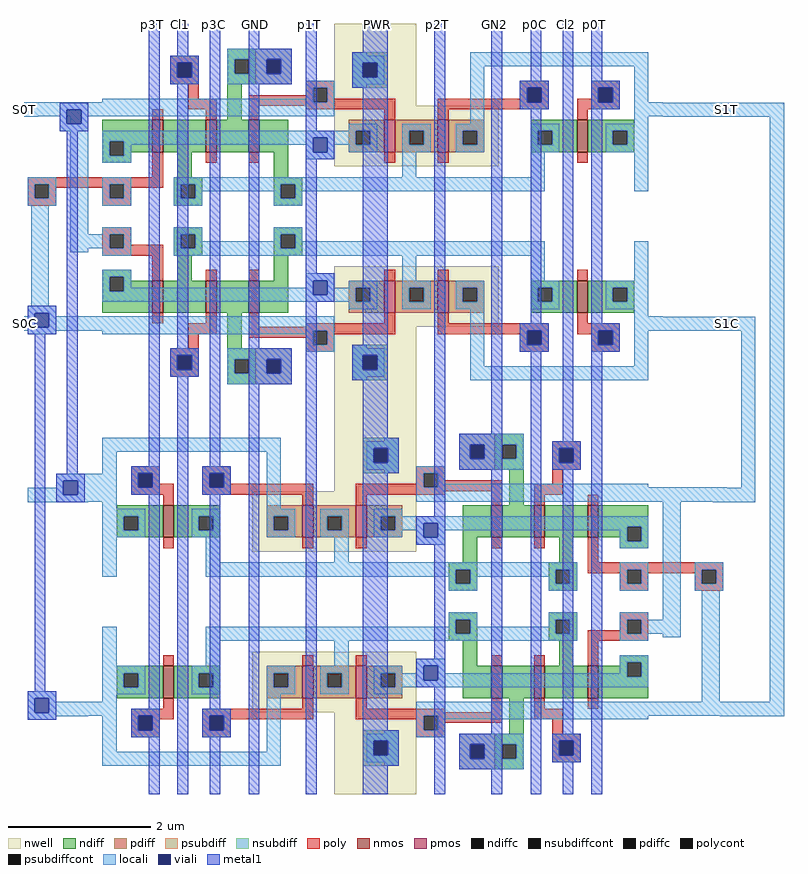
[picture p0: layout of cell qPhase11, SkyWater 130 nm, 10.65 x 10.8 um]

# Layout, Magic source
magic
tech sky130A
magscale 1 2
<< locali >>
rect -360 1730 -320 1770
rect -260 1750 -180 1770
rect -260 1710 -240 1750
rect -200 1710 -180 1750
rect 1430 1730 1770 1770
rect -260 1690 -180 1710
rect -350 1180 -270 1200
rect -350 1170 -330 1180
rect -360 1140 -330 1170
rect -290 1140 -270 1180
rect -360 1130 -270 1140
rect 1430 1130 1690 1170
rect -350 1120 -270 1130
rect -270 710 -120 730
rect -270 690 -250 710
rect -350 670 -250 690
rect -210 690 -120 710
rect 1650 690 1690 1130
rect -210 670 -180 690
rect -350 650 -180 670
rect 1570 650 1690 690
rect -350 100 -270 120
rect -350 60 -330 100
rect -290 90 -270 100
rect 1730 90 1770 1730
rect -290 60 -180 90
rect -350 50 -180 60
rect 1590 50 1770 90
rect -350 40 -270 50
<< viali >>
rect -240 1710 -200 1750
rect -330 1140 -290 1180
rect -250 670 -210 710
rect -330 60 -290 100
<< metal1 >>
rect -10 1960 20 1990
rect 70 1960 100 1990
rect 160 1960 190 1990
rect 270 1960 300 1990
rect 430 1960 460 1990
rect 590 1960 660 1990
rect 790 1960 820 1990
rect 950 1960 980 1990
rect 1060 1960 1090 1990
rect 1150 1960 1180 1990
rect 1230 1960 1260 1990
rect -260 1750 -180 1770
rect -260 1710 -240 1750
rect -200 1710 -180 1750
rect -260 1690 -180 1710
rect -350 1180 -270 1200
rect -350 1140 -330 1180
rect -290 1140 -270 1180
rect -350 1120 -270 1140
rect -330 120 -300 1120
rect -240 730 -210 1690
rect -270 710 -190 730
rect -270 670 -250 710
rect -210 670 -190 710
rect -270 650 -190 670
rect -350 100 -270 120
rect -350 60 -330 100
rect -290 60 -270 100
rect -350 40 -270 60
use qLatch11  qLatch11_0
transform 1 0 160 0 1 1271
box -520 -391 1270 751
use qLatch11  qLatch11_1
transform -1 0 1090 0 1 191
box -520 -391 1270 751
<< labels >>
flabel locali 1610 1750 1610 1750 7 FreeSans 160 0 240 0 S1T
port 3 w
flabel locali 1610 1150 1610 1150 7 FreeSans 160 0 240 0 S1C
port 4 w
flabel metal1 80 1990 80 1990 1 FreeSans 160 0 0 240 Cl1
port 8 n
flabel metal1 1160 1990 1160 1990 1 FreeSans 160 0 0 240 Cl2
port 10 n
flabel metal1 630 1990 630 1990 1 FreeSans 160 0 0 240 PWR
port 14 n
flabel metal1 290 1990 290 1990 1 FreeSans 160 0 0 240 GND
port 13 n
flabel metal1 440 1990 440 1990 1 FreeSans 160 0 0 240 p1T
port 7 n
flabel metal1 800 1990 800 1990 1 FreeSans 160 0 0 240 p2T
port 9 n
flabel metal1 1240 1990 1240 1990 1 FreeSans 160 0 0 240 p0T
port 5 n
flabel metal1 1070 1990 1070 1990 1 FreeSans 160 0 0 240 p0C
port 6 n
flabel metal1 0 1990 0 1990 1 FreeSans 160 0 0 240 p3T
port 11 n
flabel metal1 170 1990 170 1990 1 FreeSans 160 0 0 240 p3C
port 12 n
flabel locali -360 1750 -360 1750 1 FreeSans 160 0 -240 0 S0T
port 1 n
flabel locali -360 1150 -360 1150 1 FreeSans 160 0 -240 0 S0C
port 2 n
flabel metal1 960 1990 960 1990 1 FreeSans 160 0 0 240 GN2
port 15 n
<< end >>

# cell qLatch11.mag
magic
tech sky130A
<< poly >>
rect -255 135 -150 145
rect -255 115 -245 135
rect -225 130 -150 135
rect -225 115 -215 130
rect -255 105 -215 115
<< polycont >>
rect -245 115 -225 135
<< locali >>
rect -260 230 -150 250
rect 615 230 635 250
rect -255 135 -215 145
rect -255 115 -245 135
rect -225 115 -215 135
rect -255 105 -215 115
rect -250 -50 -225 105
rect -195 65 -170 230
rect -195 45 -150 65
rect -195 40 -170 45
rect -260 -70 -150 -50
rect 615 -70 635 -50
<< metal1 >>
rect -85 345 -70 360
rect -45 345 -30 360
rect 0 345 15 360
rect 55 345 70 360
rect 135 345 150 360
rect 215 340 250 360
rect 315 345 330 360
rect 395 345 410 360
rect 450 345 465 360
rect 495 345 510 360
rect 535 345 550 360
use QAAmp11  QAAmp11_0
transform 1 0 -5 0 -1 20
box -145 -70 620 200
use QAAmp11  QAAmp11_1
transform 1 0 -5 0 1 160
box -145 -70 620 200
<< labels >>
flabel metal1 -80 360 -80 360 1 FreeSans 80 0 0 120 p3T
port 11 n
flabel metal1 -40 360 -40 360 1 FreeSans 80 0 0 120 Cl0
port 8 n
flabel metal1 5 360 5 360 1 FreeSans 80 0 0 120 p7T
port 12 n
flabel metal1 65 360 65 360 1 FreeSans 80 0 0 120 GND
port 13 n
flabel metal1 235 360 235 360 1 FreeSans 80 0 0 120 PWR
port 14 n
flabel metal1 325 360 325 360 1 FreeSans 80 0 0 120 p2T
port 9 n
flabel metal1 400 360 400 360 1 FreeSans 80 0 0 120 GN2
port 15 n
flabel metal1 460 360 460 360 1 FreeSans 80 0 0 120 p4T
port 6 n
flabel metal1 500 360 500 360 1 FreeSans 80 0 0 120 Cl1
port 10 n
flabel metal1 540 360 540 360 1 FreeSans 80 0 0 120 p0T
port 5 n
flabel locali -260 240 -260 240 3 FreeSans 80 0 -120 0 AT
port 1 e
flabel locali -260 -60 -260 -60 3 FreeSans 80 0 -120 0 AC
port 2 e
flabel locali 635 240 635 240 7 FreeSans 80 0 120 0 QT
port 3 w
flabel locali 635 -60 635 -60 7 FreeSans 80 0 120 0 QC
port 4 w
flabel metal1 140 360 140 360 1 FreeSans 80 0 0 120 p1T
port 7 n
<< end >>

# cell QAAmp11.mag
magic
tech sky130A
<< nwell >>
rect 180 85 295 200
rect 180 0 410 85
<< nmos >>
rect -75 20 -60 65
rect 0 20 15 65
rect 60 20 75 65
rect 520 20 535 65
<< pmos >>
rect 250 20 265 65
rect 325 20 340 65
<< ndiff >>
rect 30 150 70 165
rect 30 130 40 150
rect 60 130 70 150
rect 30 115 70 130
rect 30 65 50 115
rect -145 35 -75 65
rect -145 15 -135 35
rect -115 20 -75 35
rect -60 20 0 65
rect 15 20 60 65
rect 75 20 115 65
rect 455 50 520 65
rect 455 30 465 50
rect 485 30 520 50
rect 455 20 520 30
rect 535 50 600 65
rect 535 30 570 50
rect 590 30 600 50
rect 535 20 600 30
rect -115 15 -105 20
rect -145 5 -105 15
rect -40 -15 -20 20
rect 95 -15 115 20
rect -45 -25 -5 -15
rect -45 -45 -35 -25
rect -15 -45 -5 -25
rect -45 -55 -5 -45
rect 95 -25 135 -15
rect 95 -45 105 -25
rect 125 -45 135 -25
rect 95 -55 135 -45
<< pdiff >>
rect 200 50 250 65
rect 200 30 210 50
rect 230 30 250 50
rect 200 20 250 30
rect 265 50 325 65
rect 265 30 285 50
rect 305 30 325 50
rect 265 20 325 30
rect 340 50 390 65
rect 340 30 360 50
rect 380 30 390 50
rect 340 20 390 30
<< ndiffc >>
rect 40 130 60 150
rect -135 15 -115 35
rect 465 30 485 50
rect 570 30 590 50
rect -35 -45 -15 -25
rect 105 -45 125 -25
<< pdiffc >>
rect 210 30 230 50
rect 285 30 305 50
rect 360 30 380 50
<< psubdiff >>
rect 70 150 120 165
rect 70 130 85 150
rect 105 130 120 150
rect 70 115 120 130
<< nsubdiff >>
rect 205 145 255 160
rect 205 125 220 145
rect 240 125 255 145
rect 205 110 255 125
<< psubdiffcont >>
rect 85 130 105 150
<< nsubdiffcont >>
rect 220 125 240 145
<< poly >>
rect -50 145 -10 155
rect -50 125 -40 145
rect -20 125 -10 145
rect -50 115 -10 125
rect -25 95 -10 115
rect -25 80 15 95
rect -75 65 -60 80
rect 0 65 15 80
rect 140 110 180 120
rect 440 110 480 120
rect 140 100 150 110
rect 60 90 150 100
rect 170 95 180 110
rect 440 95 450 110
rect 170 90 265 95
rect 60 85 265 90
rect 60 65 75 85
rect 140 80 265 85
rect 250 65 265 80
rect 325 90 450 95
rect 470 90 480 110
rect 540 110 580 120
rect 540 95 550 110
rect 325 80 480 90
rect 520 90 550 95
rect 570 90 580 110
rect 520 80 580 90
rect 325 65 340 80
rect 520 65 535 80
rect -75 -15 -60 20
rect 0 5 15 20
rect 60 5 75 20
rect 250 5 265 20
rect 325 5 340 20
rect 520 5 535 20
rect -145 -25 -60 -15
rect -145 -45 -135 -25
rect -115 -30 -60 -25
rect -115 -45 -105 -30
rect -145 -55 -105 -45
<< polycont >>
rect -40 125 -20 145
rect 150 90 170 110
rect 450 90 470 110
rect 550 90 570 110
rect -135 -45 -115 -25
<< locali >>
rect -50 145 -10 155
rect -50 125 -40 145
rect -20 125 -10 145
rect -50 115 -10 125
rect 30 150 120 165
rect 30 130 40 150
rect 60 130 85 150
rect 105 130 120 150
rect 30 115 120 130
rect 205 155 225 160
rect 205 145 250 155
rect 205 125 220 145
rect 240 125 250 145
rect 140 110 180 120
rect 205 115 250 125
rect 370 140 620 160
rect 205 110 225 115
rect 140 95 150 110
rect -145 90 150 95
rect 170 90 180 110
rect -145 70 180 90
rect 370 60 390 140
rect 440 110 480 120
rect 440 90 450 110
rect 470 90 480 110
rect 440 80 480 90
rect 540 110 580 120
rect 540 90 550 110
rect 570 90 580 110
rect 540 80 580 90
rect 600 60 620 140
rect 200 50 240 60
rect -145 40 210 50
rect -145 35 150 40
rect -145 15 -135 35
rect -115 30 150 35
rect -115 15 -105 30
rect -145 5 -105 15
rect 140 20 150 30
rect 170 30 210 40
rect 230 30 240 50
rect 170 20 180 30
rect 200 20 240 30
rect 275 50 315 60
rect 275 30 285 50
rect 305 30 315 50
rect 275 20 315 30
rect 350 50 390 60
rect 350 30 360 50
rect 380 30 390 50
rect 350 20 390 30
rect 455 50 495 60
rect 455 30 465 50
rect 485 30 495 50
rect 455 20 495 30
rect 560 50 620 60
rect 560 30 570 50
rect 590 30 620 50
rect 560 20 620 30
rect 140 10 180 20
rect 275 -15 295 20
rect 455 -15 475 20
rect -145 -25 -105 -15
rect -145 -45 -135 -25
rect -115 -45 -105 -25
rect -145 -55 -105 -45
rect -45 -25 475 -15
rect -45 -45 -35 -25
rect -15 -35 105 -25
rect -15 -45 -5 -35
rect -45 -55 -5 -45
rect 95 -45 105 -35
rect 125 -35 475 -25
rect 600 -35 620 20
rect 125 -45 135 -35
rect 95 -55 135 -45
<< viali >>
rect -40 125 -20 145
rect 85 130 105 150
rect 220 125 240 145
rect 450 90 470 110
rect 550 90 570 110
rect 150 20 170 40
<< metal1 >>
rect -80 -70 -65 200
rect -40 155 -25 200
rect -50 145 -10 155
rect -50 125 -40 145
rect -20 125 -10 145
rect -50 115 -10 125
rect -40 -70 -25 115
rect 5 -70 20 200
rect 60 165 75 200
rect 60 150 120 165
rect 60 130 85 150
rect 105 130 120 150
rect 60 115 120 130
rect 60 -70 75 115
rect 140 50 155 200
rect 220 160 255 200
rect 205 145 255 160
rect 205 125 220 145
rect 240 125 255 145
rect 205 110 255 125
rect 140 40 180 50
rect 140 20 150 40
rect 170 20 180 40
rect 140 10 180 20
rect 140 -70 155 10
rect 220 -70 255 110
rect 320 -70 335 200
rect 400 -70 415 200
rect 455 120 470 200
rect 440 110 480 120
rect 440 90 450 110
rect 470 90 480 110
rect 440 80 480 90
rect 455 -70 470 80
rect 500 -70 515 200
rect 540 120 555 200
rect 540 110 580 120
rect 540 90 550 110
rect 570 90 580 110
rect 540 80 580 90
rect 540 -70 555 80
<< labels >>
flabel locali 165 -15 165 -15 1 FreeSans 80 0 0 120 T
flabel metal1 235 200 235 200 5 FreeSans 80 0 0 120 Vp
port 8 s
flabel metal1 150 200 150 200 5 FreeSans 80 0 0 120 p1T
port 4 s
flabel metal1 330 200 330 200 5 FreeSans 80 0 0 120 p2T
port 11 s
flabel metal1 550 200 550 200 5 FreeSans 80 0 0 120 p0T
port 9 s
flabel metal1 460 200 460 200 5 FreeSans 80 0 0 120 p4T
port 10 s
flabel metal1 -75 200 -75 200 5 FreeSans 80 0 0 120 p3T
port 13 s
flabel metal1 10 200 10 200 5 FreeSans 80 0 0 120 p7T
port 14 s
flabel metal1 65 200 65 200 5 FreeSans 80 0 0 120 GND
port 6 s
flabel metal1 405 200 405 200 5 FreeSans 80 0 0 120 GN2
port 7 s
flabel locali -145 80 -145 80 3 FreeSans 80 0 -120 0 S0T
port 1 e
flabel locali -145 -35 -145 -35 3 FreeSans 80 0 -120 0 S0C
port 2 e
flabel locali 620 -25 620 -25 7 FreeSans 80 0 120 0 S1T
port 3 w
flabel metal1 -30 200 -30 200 5 FreeSans 80 0 0 120 Cl0
port 5 s
flabel metal1 505 200 505 200 5 FreeSans 80 0 0 120 Cl1
port 12 s
<< end >>
